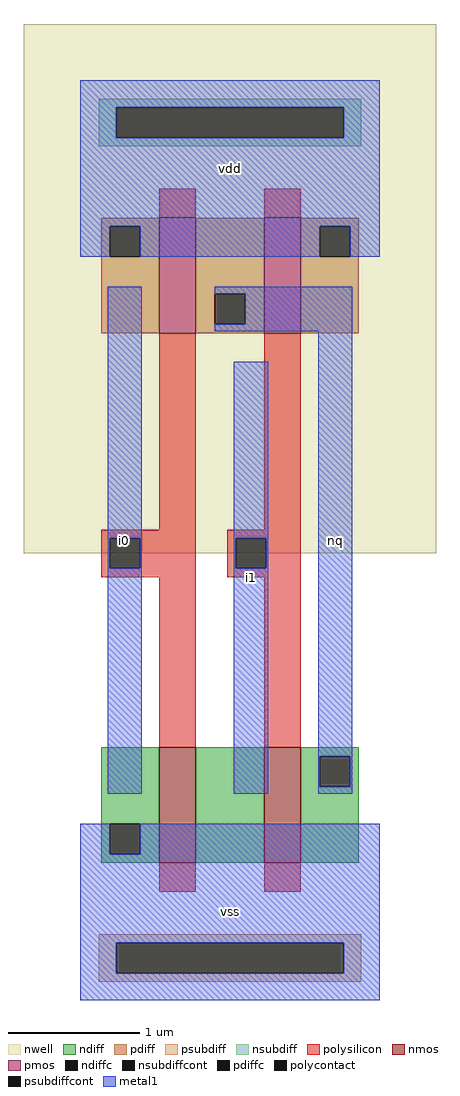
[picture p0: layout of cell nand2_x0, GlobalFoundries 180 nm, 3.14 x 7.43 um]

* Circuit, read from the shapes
.subckt nand2_x0 vss vdd i0 nq i1
XM1 n1 i0 vss vss nfet_03v3 w=0.88u l=0.28u
XM2 nq i1 n1 vss nfet_03v3 w=0.88u l=0.28u
XM3 nq i0 vdd vdd pfet_03v3 w=0.88u l=0.28u
XM4 vdd i1 nq vdd pfet_03v3 w=0.88u l=0.28u
.ends

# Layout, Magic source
magic
tech gf180mcuD
magscale 1 10
<< nwell >>
rect -86 680 542 1486
<< nmos >>
rect 120 209 176 385
rect 280 209 336 385
<< pmos >>
rect 120 1015 176 1191
rect 280 1015 336 1191
<< ndiff >>
rect 32 268 120 385
rect 32 222 45 268
rect 91 222 120 268
rect 32 209 120 222
rect 176 209 280 385
rect 336 371 424 385
rect 336 325 365 371
rect 411 325 424 371
rect 336 209 424 325
<< pdiff >>
rect 32 1178 120 1191
rect 32 1132 45 1178
rect 91 1132 120 1178
rect 32 1015 120 1132
rect 176 1075 280 1191
rect 176 1029 205 1075
rect 251 1029 280 1075
rect 176 1015 280 1029
rect 336 1178 424 1191
rect 336 1132 365 1178
rect 411 1132 424 1178
rect 336 1015 424 1132
<< ndiffc >>
rect 45 222 91 268
rect 365 325 411 371
<< pdiffc >>
rect 45 1132 91 1178
rect 205 1029 251 1075
rect 365 1132 411 1178
<< psubdiff >>
rect 28 87 428 100
rect 28 41 55 87
rect 401 41 428 87
rect 28 28 428 41
<< nsubdiff >>
rect 28 1359 428 1372
rect 28 1313 55 1359
rect 401 1313 428 1359
rect 28 1300 428 1313
<< psubdiffcont >>
rect 55 41 401 87
<< nsubdiffcont >>
rect 55 1313 401 1359
<< polysilicon >>
rect 120 1191 176 1235
rect 280 1191 336 1235
rect 120 716 176 1015
rect 280 716 336 1015
rect 32 703 176 716
rect 32 657 45 703
rect 91 657 176 703
rect 32 644 176 657
rect 224 703 336 716
rect 224 657 237 703
rect 283 657 336 703
rect 224 644 336 657
rect 120 385 176 644
rect 280 385 336 644
rect 120 165 176 209
rect 280 165 336 209
<< polycontact >>
rect 45 657 91 703
rect 237 657 283 703
<< metal1 >>
rect 0 1359 456 1400
rect 0 1313 55 1359
rect 401 1313 456 1359
rect 0 1178 456 1313
rect 0 1132 45 1178
rect 91 1132 365 1178
rect 411 1132 456 1178
rect 42 703 94 1086
rect 205 1075 414 1086
rect 251 1029 414 1075
rect 205 1018 414 1029
rect 42 657 45 703
rect 91 657 94 703
rect 42 314 94 657
rect 234 703 286 972
rect 234 657 237 703
rect 283 657 286 703
rect 234 314 286 657
rect 362 371 414 1018
rect 362 325 365 371
rect 411 325 414 371
rect 362 314 414 325
rect 0 222 45 268
rect 91 222 456 268
rect 0 87 456 222
rect 0 41 55 87
rect 401 41 456 87
rect 0 0 456 41
<< labels >>
rlabel metal1 s 0 0 456 268 4 vss
port 3 nsew
rlabel metal1 s 0 1132 456 1400 4 vdd
port 5 nsew
rlabel metal1 s 42 314 94 1086 4 i0
port 7 nsew
rlabel metal1 s 362 314 414 1086 4 nq
port 9 nsew
rlabel metal1 s 234 314 286 972 4 i1
port 11 nsew
<< end >>
